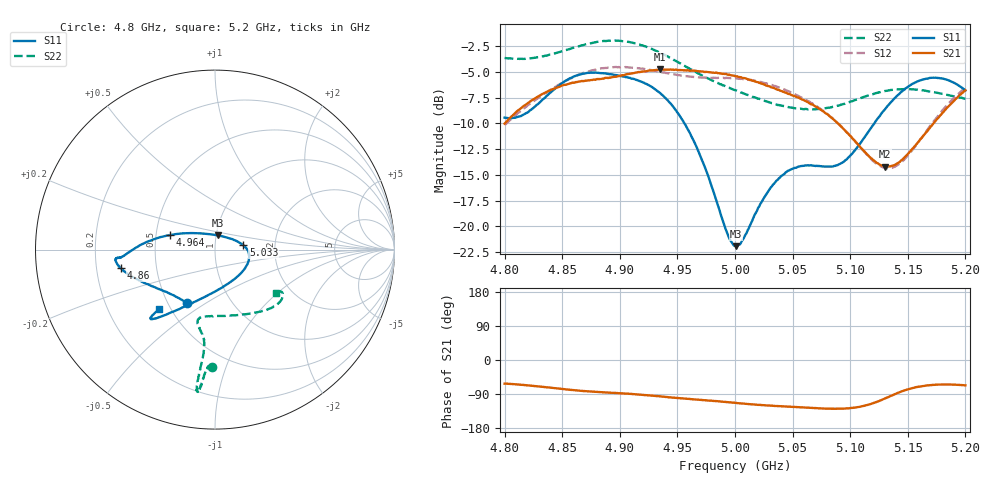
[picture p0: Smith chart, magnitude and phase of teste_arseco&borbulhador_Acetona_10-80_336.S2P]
! Network Analyzer HP8722D
! Hewlett-Packard
! Data name: Linha & Wilkinson
! Saver's name: Rodrigo Anjos
! Comments: Teste da utilização de aquisição
! continua pelo VNA HP8722D
! Time and date: 17/4/2025 17:09
!  Frequency  S11  S21  S12  S22
# HZ  S  MA R 50
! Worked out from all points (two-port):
!   401 points, 4.8 GHz to 5.2 GHz, reference 50 ohm
!   highest |S21| = -4.76 dB at 4.935 GHz (marker M1); lowest = -14.2 dB at 5.13 GHz (marker M2)
!   |S21| within 3 dB of the highest: 4.824 GHz to 5.06 GHz (236.5 MHz wide, 4.79 % of centre); 5.190468 GHz to end of sweep
!   lowest |S11| = -21.9 dB at 5.001 GHz (marker M3), VSWR 1.17, Z = 50.8 + j8.08 ohm
!   |S11| at or under -10 dB: 4.956 GHz to 5.121 GHz (164.9 MHz wide, 3.27 % of centre)
!   |S22| runs from -8.6 to -1.9 dB; largest |S21 - S12| = 0.87
!   S11 on the Smith chart (normalised r, x): 4.8 GHz: 0.62, -0.42; 4.86 GHz: 0.31, -0.09; 4.964 GHz: 0.60, +0.10; 5.033 GHz: 1.37, +0.07; 5.2 GHz: 0.43, -0.36
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4.8e9  0.3375 -117.2  0.3157 -62.3  0.311 -176.6  0.657 -91.4
4.819e9  0.3556 -137.4  0.3921 -66.7  0.382 -176.1  0.6528 -93.2
4.86e9  0.5344 -168.7  0.4979 -79.6  0.5298 -179.7  0.7365 -95.5
4.867e9  0.549 -171.2  0.5082 -81.6  0.5508 179.0  0.7579 -95.8
4.899e9  0.5391 -175.3  0.5367 -87.7  0.5941 173.0  0.796 -97.2
4.934e9  0.4479 179.3  0.5744 -95.7  0.5654 169.9  0.7011 -97.3
4.935e9  0.4441 178.9  0.578 -95.8  0.5619 169.8  0.696 -97.3
4.949e9  0.3642 172.2  0.5768 -99.9  0.5453 170.4  0.6342 -96.7
4.964e9  0.2615 161.8  0.5699 -103.8  0.5311 172.0  0.5687 -96.3
4.993e9  0.09364 112.2  0.5475 -111.1  0.5261 174.1  0.4758 -98.7
5e9  0.0812 84.3  0.5374 -113.0  0.5242 174.2  0.4584 -100.0
5.001e9  0.08025 79.9  0.5345 -113.2  0.523 174.2  0.4574 -100.3
5.006e9  0.08514 60.4  0.5271 -114.8  0.5209 174.1  0.4463 -101.4
5.033e9  0.1597 8.9  0.4716 -120.7  0.4831 172.7  0.3961 -103.2
5.048e9  0.1885 -5.2  0.4377 -123.3  0.4491 172.3  0.3777 -99.0
5.067e9  0.1975 -25.5  0.3913 -126.5  0.3963 172.0  0.3696 -88.2
5.095e9  0.2075 -73.8  0.2943 -128.2  0.2955 174.6  0.3934 -66.5
5.13e9  0.3691 -119.4  0.1953 -101.8  0.1925 -155.7  0.454 -45.1
5.134e9  0.3932 -121.8  0.1956 -96.4  0.1914 -149.6  0.4577 -43.4
5.147e9  0.4612 -127.6  0.2158 -80.5  0.2114 -131.0  0.464 -38.5
5.169e9  0.5258 -132.5  0.3005 -66.4  0.3054 -112.6  0.4517 -33.3
5.2e9  0.4565 -133.3  0.4577 -67.0  0.4699 -109.0  0.4171 -35.0
